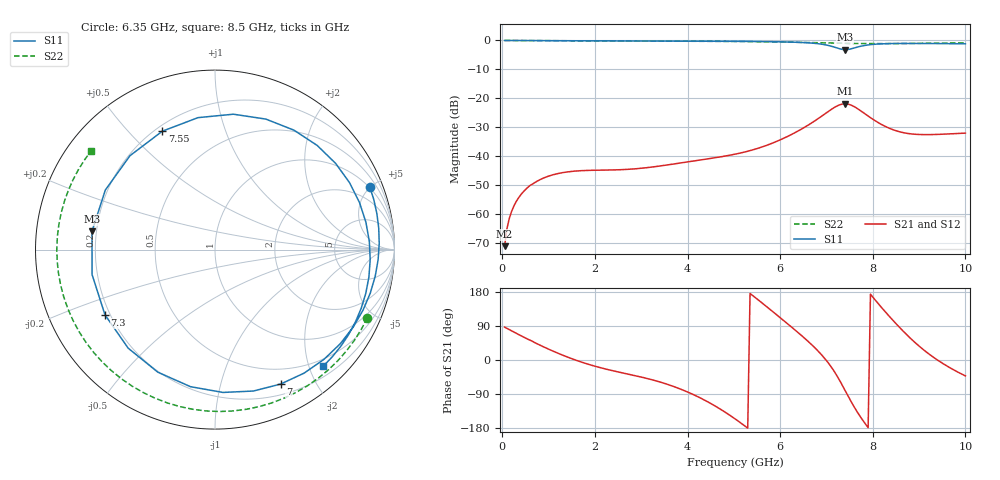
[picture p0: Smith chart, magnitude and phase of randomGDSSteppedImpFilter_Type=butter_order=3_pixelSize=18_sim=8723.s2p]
! freq	dB(S11)	phase(S11)	dB(S12)	phase(S12)
!  dB(S21)	phase(S21)	dB(S22)	phase(S22)
!S-par simulation data
#  GHz  S  DB  R 50
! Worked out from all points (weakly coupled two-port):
!   200 points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, 50 MHz to 10 GHz, reference 50 ohm
!   highest |S21| = -21.91 dB at 7.4 GHz (marker M1); lowest = -71.2 dB at 50 MHz (marker M2)
!   lowest |S11| = -3.2 dB at 7.4 GHz (marker M3), VSWR 5.51, Z = 9.12 + j3.58 ohm
!   |S11| at or under -10 dB: nowhere
!   |S22| runs from -1.1 to 0.0 dB; largest |S21 - S12| = 0
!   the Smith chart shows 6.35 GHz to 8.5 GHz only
!   S11 on the Smith chart (normalised r, x): 6.35 GHz: 0.94, +4.94; 7 GHz: 0.32, -1.55; 7.3 GHz: 0.18, -0.27; 7.55 GHz: 0.23, +0.63; 8.5 GHz: 0.37, -2.24
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0.05  -0.00 -3.3  -71.16 86.7  -71.16 86.7  -0.00 -3.3
0.2  -0.02 -13.0  -59.17 77.0  -59.17 77.0  -0.02 -13.1
0.5  -0.04 -32.1  -51.58 58.0  -51.58 58.0  -0.04 -32.3
1.1  -0.08 -68.2  -46.44 23.2  -46.44 23.2  -0.09 -69.4
1.75  -0.11 -103.1  -45.00 -7.1  -45.00 -7.1  -0.12 -106.4
2.6  -0.14 -142.7  -44.68 -34.2  -44.68 -34.2  -0.16 -150.8
3.4  -0.18 -176.6  -43.44 -57.9  -43.44 -57.9  -0.20 169.1
4.35  -0.23 142.9  -41.17 -104.7  -41.17 -104.7  -0.27 118.7
5.05  -0.30 109.3  -39.26 -157.4  -39.26 -157.4  -0.34 76.1
5.8  -0.42 65.2  -35.73 131.7  -35.73 131.7  -0.48 21.9
6.35  -0.62 22.1  -31.64 76.2  -31.64 76.2  -0.63 -24.1
6.7  -0.93 -15.7  -28.33 38.2  -28.33 38.2  -0.75 -55.8
7  -1.58 -64.0  -25.02 -1.5  -25.02 -1.5  -0.87 -83.7
7.15  -2.20 -100.1  -23.38 -26.8  -23.38 -26.8  -0.93 -97.8
7.3  -2.94 -149.3  -22.18 -57.2  -22.18 -57.2  -0.99 -111.9
7.4  -3.19 171.5  -21.91 -79.8  -21.91 -79.8  -1.01 -121.2
7.55  -2.83 114.0  -22.49 -113.6  -22.49 -113.6  -1.04 -135.1
7.9  -1.54 26.4  -26.16 -178.4  -26.16 -178.4  -1.09 -167.1
8.35  -1.09 -32.6  -30.32 116.2  -30.32 116.2  -1.10 153.9
8.5  -1.05 -47.1  -31.22 96.1  -31.22 96.1  -1.09 141.7
9.2  -1.05 -101.1  -32.57 17.1  -32.57 17.1  -0.97 89.6
10  -1.16 -148.6  -32.06 -41.9  -32.06 -41.9  -0.82 41.1
